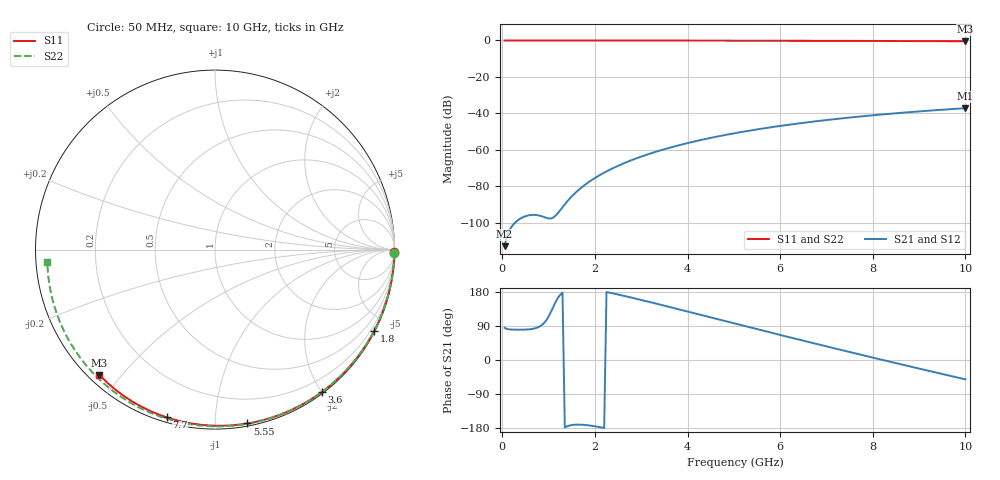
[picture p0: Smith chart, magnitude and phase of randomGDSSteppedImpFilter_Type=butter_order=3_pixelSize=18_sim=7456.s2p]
! freq	dB(S11)	phase(S11)	dB(S12)	phase(S12)
!  dB(S21)	phase(S21)	dB(S22)	phase(S22)
!S-par simulation data
#  GHz  S  DB  R 50
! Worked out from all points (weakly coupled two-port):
!   200 points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, 50 MHz to 10 GHz, reference 50 ohm
!   highest |S21| = -37.16 dB at 10 GHz (marker M1); lowest = -112.8 dB at 50 MHz (marker M2)
!   lowest |S11| = -0.4 dB at 10 GHz (marker M3), VSWR 38.74, Z = 1.54 - j21.9 ohm
!   |S11| at or under -10 dB: nowhere
!   |S22| runs from -0.6 to 0.0 dB; largest |S21 - S12| = 0
!   S11 on the Smith chart (normalised r, x): 50 MHz: open; 1.8 GHz: 0.04, -4.13; 3.6 GHz: 0.02, -2.00; 5.55 GHz: 0.02, -1.20; 7.7 GHz: 0.02, -0.75; 10 GHz: 0.03, -0.44
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0.05  -0.00 -0.8  -112.85 84.9  -112.85 84.9  -0.00 -1.0
0.45  -0.01 -6.9  -96.91 80.0  -96.91 80.0  -0.01 -9.3
0.85  -0.02 -13.0  -96.42 91.9  -96.42 91.9  -0.02 -17.4
1.3  -0.02 -19.8  -91.46 177.8  -91.46 177.8  -0.03 -26.4
1.75  -0.03 -26.5  -79.88 -171.1  -79.88 -171.1  -0.05 -35.4
1.8  -0.03 -27.2  -78.91 -171.6  -78.91 -171.6  -0.05 -36.4
1.95  -0.04 -29.4  -76.27 -174.0  -76.27 -174.0  -0.05 -39.3
2.1  -0.04 -31.6  -73.94 -177.1  -73.94 -177.1  -0.05 -42.2
2.3  -0.04 -34.6  -71.19 178.1  -71.19 178.1  -0.06 -46.1
2.5  -0.05 -37.5  -68.77 172.8  -68.77 172.8  -0.06 -49.9
2.9  -0.06 -43.3  -64.63 161.4  -64.63 161.4  -0.07 -57.5
3.4  -0.07 -50.4  -60.41 146.4  -60.41 146.4  -0.09 -66.8
3.6  -0.07 -53.2  -58.94 140.3  -58.94 140.3  -0.09 -70.4
4.3  -0.09 -62.8  -54.53 118.6  -54.53 118.6  -0.12 -82.9
5.05  -0.11 -72.9  -50.74 95.3  -50.74 95.3  -0.15 -95.8
5.55  -0.13 -79.4  -48.60 79.9  -48.60 79.9  -0.17 -104.2
6.1  -0.15 -86.4  -46.54 63.1  -46.54 63.1  -0.20 -113.2
6.7  -0.18 -93.9  -44.56 44.9  -44.56 44.9  -0.24 -122.9
7.7  -0.24 -106.0  -41.78 15.1  -41.78 15.1  -0.32 -138.7
8.35  -0.29 -113.7  -40.26 -3.9  -40.26 -3.9  -0.38 -149.0
9.2  -0.36 -123.6  -38.53 -28.4  -38.53 -28.4  -0.47 -162.5
10  -0.45 -132.7  -37.16 -51.1  -37.16 -51.1  -0.57 -175.6
